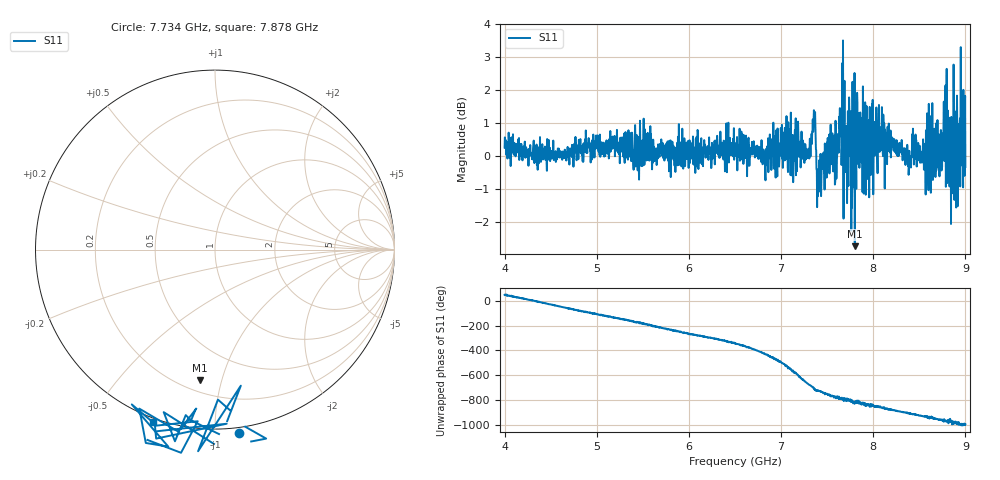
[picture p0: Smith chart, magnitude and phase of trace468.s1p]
! Created with skrf 1.8.0 (http://scikit-rf.org).
# Hz S RI R 50.0
!freq ReS11 ImS11
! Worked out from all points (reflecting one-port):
!   1601 points, 4 GHz to 9 GHz, reference 50 ohm
!   lowest |S11| = -2.7 dB at 7.8 GHz (marker M1), VSWR 6.44, Z = 13.7 - j42.7 ohm
!   phase of S11 starts at 50 deg and turns -1047 deg over the sweep
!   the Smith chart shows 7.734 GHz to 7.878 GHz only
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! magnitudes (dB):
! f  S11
! 4 GHz  0.3
! 4.625 GHz  -0.1
! 5.25 GHz  -0.2
! 5.875 GHz  0.3
! 6.5 GHz  0.3
! 6.825 GHz  0.0
! 7.066 GHz  0.3
! 7.125 GHz  -0.6
! 7.294 GHz  0.1
! 7.35 GHz  0.7
! 7.412 GHz  -0.7
! 7.522 GHz  0.7
! 7.588 GHz  -0.8
! 7.647 GHz  0.9
! 7.703 GHz  -0.4
! 7.75 GHz  0.8
! 7.784 GHz  0.8
! 7.8 GHz  -2.7
! 7.844 GHz  0.9
! 7.956 GHz  -1.2
! 8.075 GHz  0.6
! 8.375 GHz  -0.2
! 8.441 GHz  -0.2
! 8.734 GHz  0.8
! 8.784 GHz  2.2
! 8.844 GHz  -2.0
! 8.956 GHz  0.2
! 9 GHz  -0.3
